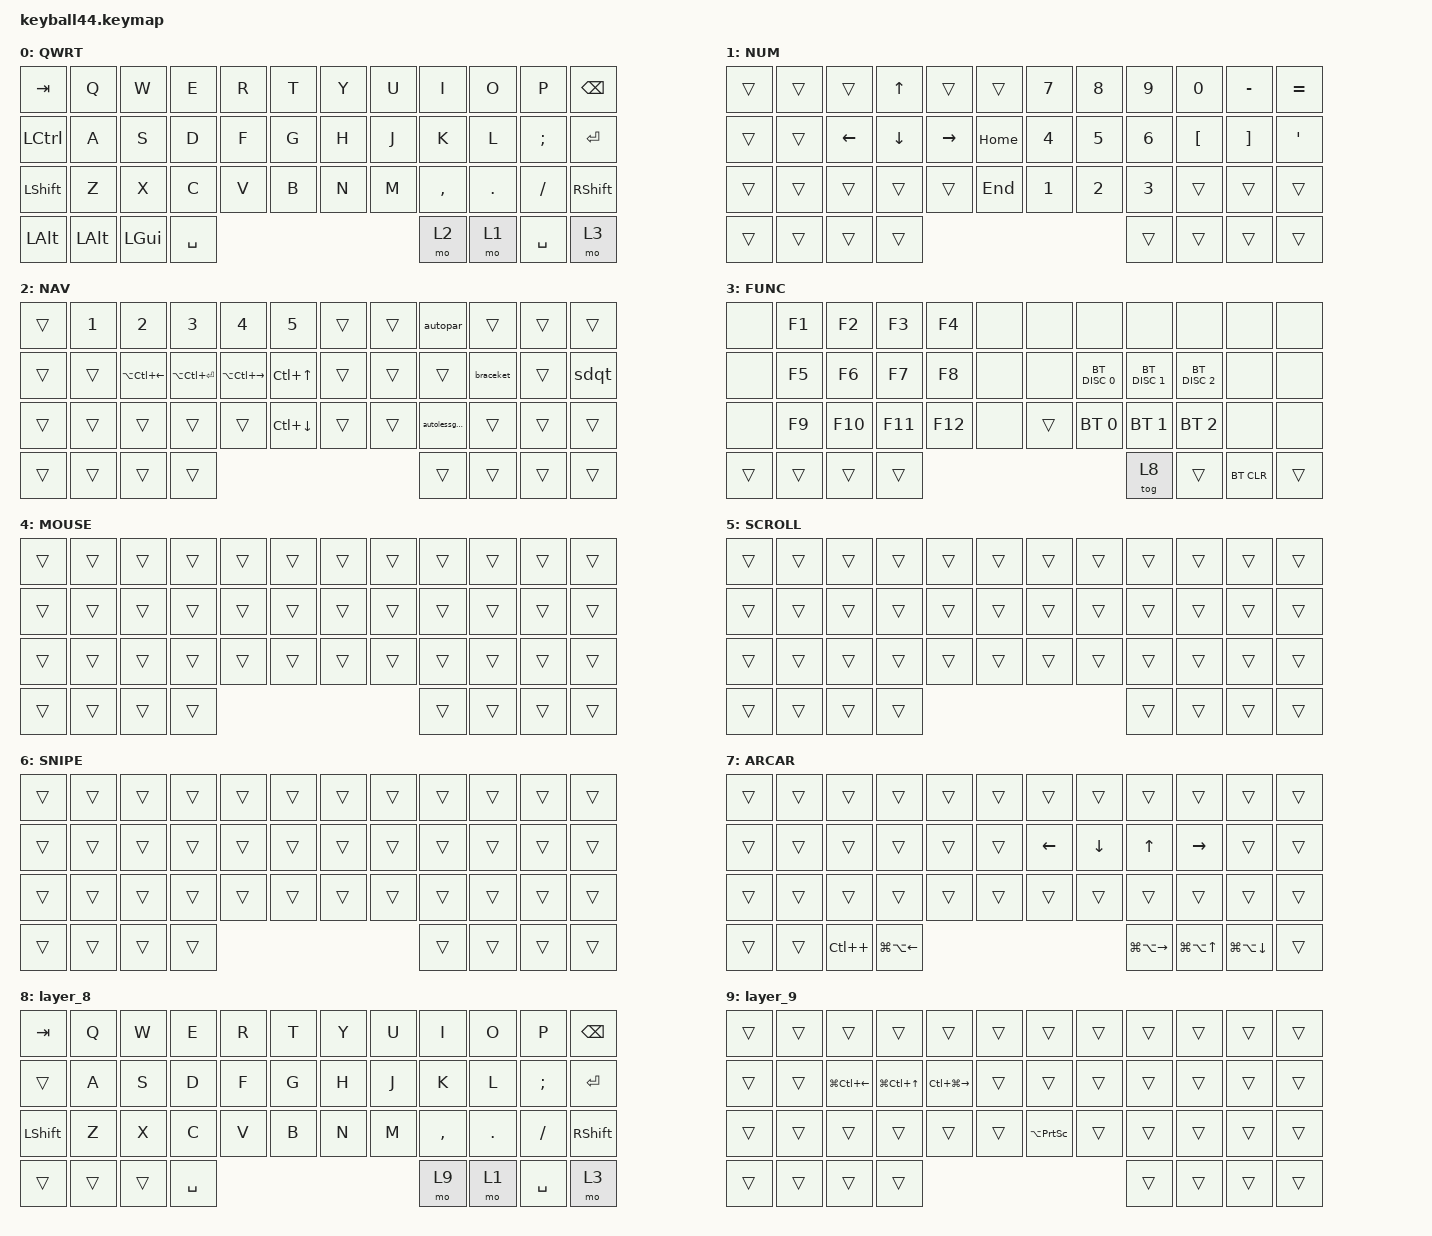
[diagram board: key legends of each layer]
#define DEFAULT 0
#define NUM     1
#define NAV     2
#define FUN     3
#define MOUSE   4
#define SCROLL  5
#define SNIPE   6
#define ARRC    7

#include <behaviors/mouse_keys.dtsi>
#include <dt-bindings/zmk/mouse.h>
#include <behaviors.dtsi>
#include <dt-bindings/zmk/bt.h>
#include <dt-bindings/zmk/keys.h>
#include <dt-bindings/zmk/pointing.h>

&lt {
    tapping-term-ms = <240>;
    flavor = "balanced";
    quick-tap-ms = <150>;
};

&mt {
    tapping-term-ms = <200>;
    flavor = "tap-preferred";
    quick-tap-ms = <150>;
};

&caps_word { continue-list = <UNDERSCORE MINUS BACKSPACE>; };

/ {
    // custom shift using mod-morph 

    behaviors {
        tidegrave: tidegrave {
            compatible = "zmk,behavior-mod-morph";
            label = "TIDEGRAVE";
            bindings = <&kp LS(GRAVE)>, <&kp GRAVE>;

            #binding-cells = <0>;
            mods = <(MOD_LGUI|MOD_RGUI)>;
        };

        tidesc: tidesc {
            compatible = "zmk,behavior-mod-morph";
            label = "TIDESC";
            bindings = <&kp ESCAPE>, <&tidegrave>;

            #binding-cells = <0>;
            mods = <(MOD_LSFT|MOD_RSFT)>;
        };

        braceket: braceket {
            compatible = "zmk,behavior-mod-morph";
            label = "BRACEKET";
            bindings = <&autobracket>, <&autobrace>;

            #binding-cells = <0>;
            mods = <(MOD_LSFT|MOD_RSFT)>;
        };

        sdqt: sdqt {
            compatible = "zmk,behavior-mod-morph";
            label = "SDQT";
            bindings = <&autosqt>, <&autodqt>;

            #binding-cells = <0>;
            mods = <(MOD_LSFT|MOD_RSFT)>;
        };
    };

    combos {
        compatible = "zmk,combos";

        shiftcaps {
            bindings = <&caps_word>;
            key-positions = <24 35>;
        };

        mb1 {
            bindings = <&mkp MB1>;
            key-positions = <19 20>;
        };

        mb2 {
            bindings = <&mkp MB2>;
            key-positions = <20 21>;
        };

        scrollkey {
            bindings = <&mo 5>;
            key-positions = <19 21>;
        };

        delete {
            bindings = <&kp DELETE>;
            key-positions = <11 10>;
        };

        bkslash {
            bindings = <&kp BACKSLASH>;
            key-positions = <22 23>;
        };

        esctide {
            bindings = <&tidesc>;
            key-positions = <0 1>;
        };

        snipelayer {
            bindings = <&mo 6>;
            key-positions = <14 16>;
        };

        hjklmo {
            bindings = <&mo 7>;
            key-positions = <15 16>;
        };

        AD_FINDER {
            bindings = <&kp LC(F)>;
            key-positions = <38 42>;
            layers = <8>;
        };

        MCOPY {
            bindings = <&kp LG(C)>;
            key-positions = <26 27>;
            layers = <0>;
        };

        MPASTE {
            bindings = <&kp LG(V)>;
            key-positions = <27 28>;
            layers = <0>;
        };

        ADCOPY {
            bindings = <&kp LC(C)>;
            key-positions = <26 27>;
            layers = <8>;
        };

        ADPASTE {
            bindings = <&kp LC(V)>;
            key-positions = <27 28>;
            layers = <8>;
        };
    };

    macros {
        autobracket: autobracket {
            compatible = "zmk,behavior-macro";
            #binding-cells = <0>;
            bindings =
                <&macro_tap>,
                <&kp LEFT_BRACKET &kp RIGHT_BRACKET &kp LEFT_ARROW>;

            label = "AUTOBRACKET";
        };

        autobrace: autobrace {
            compatible = "zmk,behavior-macro";
            #binding-cells = <0>;
            bindings =
                <&macro_release>,
                <&kp LSHFT>,
                <&macro_tap>,
                <&kp LEFT_BRACE &kp RIGHT_BRACE &kp LEFT>;

            label = "AUTOBRACE";
        };

        autosqt: autosqo {
            compatible = "zmk,behavior-macro";
            #binding-cells = <0>;
            bindings = <&macro_tap>, <&kp SQT &kp SQT &kp LEFT>;

            label = "AUTOSQO";
        };

        autodqt: autodqt {
            compatible = "zmk,behavior-macro";
            #binding-cells = <0>;
            bindings =
                <&macro_release>,
                <&kp LSHFT>,
                <&macro_tap>,
                <&kp DOUBLE_QUOTES &kp DOUBLE_QUOTES &kp LEFT>;

            label = "AUTODQT";
        };

        autolessgreat: autolessgreat {
            compatible = "zmk,behavior-macro";
            #binding-cells = <0>;
            bindings =
                <&macro_tap>,
                <&kp LESS_THAN &kp GREATER_THAN &kp LEFT_ARROW>;

            label = "AUTOLESSGREAT";
        };

        autopar: autopar {
            compatible = "zmk,behavior-macro";
            #binding-cells = <0>;
            bindings =
                <&macro_tap>,
                <&kp LEFT_PARENTHESIS &kp RIGHT_PARENTHESIS &kp LEFT_ARROW>;

            label = "AUTOPAR";
        };

        adcopy: adcopy {
            compatible = "zmk,behavior-macro";
            #binding-cells = <0>;
            bindings = <&macro_press>, <&none>;

            label = "ADCOPY";
        };
    };

    keymap {
        compatible = "zmk,keymap";

        default_layer {
            label = "QWRT";
            bindings = <
&kp TAB         &kp Q         &kp W         &kp E      &kp R  &kp T             &kp Y      &kp U  &kp I      &kp O    &kp P      &kp BACKSPACE
&kp LCTRL       &kp A         &kp S         &kp D      &kp F  &kp G             &kp H      &kp J  &kp K      &kp L    &kp SEMI   &kp ENTER
&kp LEFT_SHIFT  &kp Z         &kp X         &kp C      &kp V  &kp B             &kp N      &kp M  &kp COMMA  &kp DOT  &kp SLASH  &kp RIGHT_SHIFT
&kp LEFT_ALT    &kp LEFT_ALT  &kp LEFT_GUI  &kp SPACE  &mo 2             &mo 1  &kp SPACE                                        &mo 3
            >;
        };

        number_layer {
            label = "NUM";
            bindings = <
&trans  &trans  &trans    &kp UP_ARROW  &trans     &trans                &kp NUMBER_7  &kp NUMBER_8  &kp NUMBER_9  &kp NUMBER_0      &kp MINUS          &kp EQUAL
&trans  &trans  &kp LEFT  &kp DOWN      &kp RIGHT  &kp HOME              &kp NUMBER_4  &kp NUMBER_5  &kp NUMBER_6  &kp LEFT_BRACKET  &kp RIGHT_BRACKET  &kp SINGLE_QUOTE
&trans  &trans  &trans    &trans        &trans     &kp END               &kp NUMBER_1  &kp NUMBER_2  &kp NUMBER_3  &trans            &trans             &trans
&trans  &trans  &trans    &trans        &trans                   &trans  &trans                                                                         &trans
            >;
        };

        symbol_layer {
            label = "NAV";
            bindings = <
&trans  &kp NUMBER_1  &kp NUMBER_2            &kp NUMBER_3       &kp NUMBER_4       &kp NUMBER_5                    &trans  &trans  &autopar        &trans     &trans  &trans
&trans  &trans        &kp LA(LC(LEFT_ARROW))  &kp LA(LC(ENTER))  &kp LA(LC(RIGHT))  &kp LC(UP_ARROW)                &trans  &trans  &trans          &braceket  &trans  &sdqt
&trans  &trans        &trans                  &trans             &trans             &kp LC(DOWN_ARROW)              &trans  &trans  &autolessgreat  &trans     &trans  &trans
&trans  &trans        &trans                  &trans             &trans                                     &trans  &trans                                             &trans
            >;
        };

        function_layer {
            label = "FUNC";
            bindings = <
&none   &kp F1  &kp F2   &kp F3   &kp F4   &none              &none       &none          &none          &none          &none  &none
&none   &kp F5  &kp F6   &kp F7   &kp F8   &none              &none       &bt BT_DISC 0  &bt BT_DISC 1  &bt BT_DISC 2  &none  &none
&none   &kp F9  &kp F10  &kp F11  &kp F12  &none              &trans      &bt BT_SEL 0   &bt BT_SEL 1   &bt BT_SEL 2   &none  &none
&trans  &trans  &trans   &trans   &tog 8              &trans  &bt BT_CLR                                                      &trans
            >;
        };

        mouse_layer {
            label = "MOUSE";
            bindings = <
&trans  &trans  &trans  &trans  &trans  &trans              &trans  &trans  &trans  &trans  &trans  &trans
&trans  &trans  &trans  &trans  &trans  &trans              &trans  &trans  &trans  &trans  &trans  &trans
&trans  &trans  &trans  &trans  &trans  &trans              &trans  &trans  &trans  &trans  &trans  &trans
&trans  &trans  &trans  &trans  &trans              &trans  &trans                                  &trans
            >;
        };

        scroll_layer {
            label = "SCROLL";
            bindings = <
&trans  &trans  &trans  &trans  &trans  &trans              &trans  &trans  &trans  &trans  &trans  &trans
&trans  &trans  &trans  &trans  &trans  &trans              &trans  &trans  &trans  &trans  &trans  &trans
&trans  &trans  &trans  &trans  &trans  &trans              &trans  &trans  &trans  &trans  &trans  &trans
&trans  &trans  &trans  &trans  &trans              &trans  &trans                                  &trans
            >;
        };

        snipe_layer {
            label = "SNIPE";
            bindings = <
&trans  &trans  &trans  &trans  &trans  &trans              &trans  &trans  &trans  &trans  &trans  &trans
&trans  &trans  &trans  &trans  &trans  &trans              &trans  &trans  &trans  &trans  &trans  &trans
&trans  &trans  &trans  &trans  &trans  &trans              &trans  &trans  &trans  &trans  &trans  &trans
&trans  &trans  &trans  &trans  &trans              &trans  &trans                                  &trans
            >;
        };

        layer_7 {
            label = "ARCAR";
            bindings = <
&trans  &trans  &trans        &trans                  &trans             &trans                            &trans            &trans    &trans  &trans     &trans  &trans
&trans  &trans  &trans        &trans                  &trans             &trans                            &kp LEFT          &kp DOWN  &kp UP  &kp RIGHT  &trans  &trans
&trans  &trans  &trans        &trans                  &trans             &trans                            &trans            &trans    &trans  &trans     &trans  &trans
&trans  &trans  &kp LC(PLUS)  &kp LG(LA(LEFT_ARROW))  &kp LG(LA(RIGHT))              &kp LG(LA(UP_ARROW))  &kp LG(LA(DOWN))                                       &trans
            >;
        };

        layer_8 {
            bindings = <
&kp TAB    &kp Q   &kp W   &kp E      &kp R  &kp T             &kp Y      &kp U  &kp I      &kp O    &kp P     &kp BSPC
&trans     &kp A   &kp S   &kp D      &kp F  &kp G             &kp H      &kp J  &kp K      &kp L    &kp SEMI  &kp ENTER
&kp LSHFT  &kp Z   &kp X   &kp C      &kp V  &kp B             &kp N      &kp M  &kp COMMA  &kp DOT  &kp FSLH  &kp RSHFT
&trans     &trans  &trans  &kp SPACE  &mo 9             &mo 1  &kp SPACE                                       &mo 3
            >;
        };

        layer_9 {
            bindings = <
&trans  &trans  &trans                  &trans                &trans             &trans              &trans               &trans  &trans  &trans  &trans  &trans
&trans  &trans  &kp LG(LC(LEFT_ARROW))  &kp LG(LC(UP_ARROW))  &kp LC(LG(RIGHT))  &trans              &trans               &trans  &trans  &trans  &trans  &trans
&trans  &trans  &trans                  &trans                &trans             &trans              &kp LA(PRINTSCREEN)  &trans  &trans  &trans  &trans  &trans
&trans  &trans  &trans                  &trans                &trans                         &trans  &trans                                               &trans
            >;
        };
    };
};
